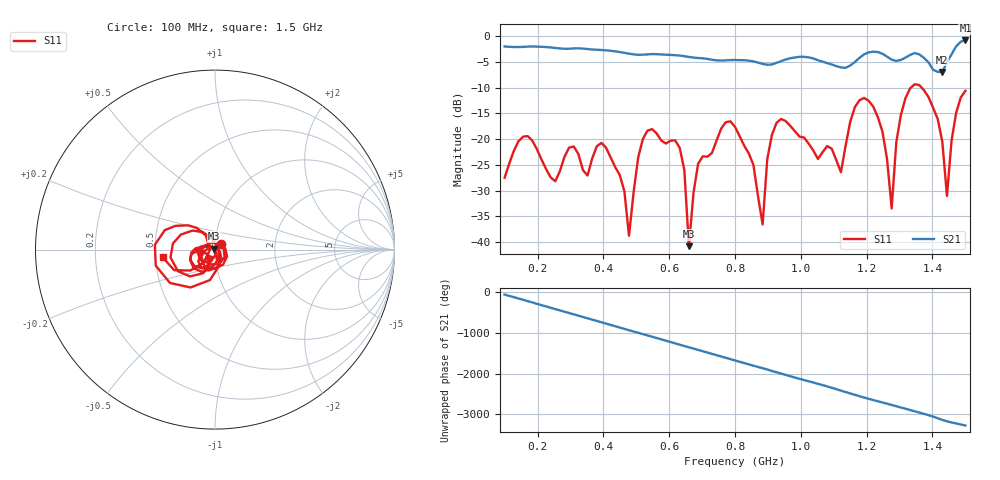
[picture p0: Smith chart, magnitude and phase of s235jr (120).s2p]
! NanoVNA-App
! Date: 2025-09-25 15:05:06
! Start: 100MHz Stop: 1,5GHz Points: 101
! S-Parameter data: F S11 S21 S12 S22
# Hz S RI R 50
!  Frequency  S11_Real  S11_Imag  S21_Real  S21_Imag  S12_Real  S12_Imag  S22_Real  S22_Imag
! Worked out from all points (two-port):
!   101 points, 100 MHz to 1.5 GHz, reference 50 ohm
!   highest |S21| = -0.80 dB at 1.5 GHz (marker M1); lowest = -7.0 dB at 1.43 GHz (marker M2)
!   |S21| within 3 dB of the highest: start of sweep to 639.8 MHz; 1.186 GHz to 1.259 GHz (72.5 MHz wide, 5.93 % of centre) (the widest 2 of 4)
!   lowest |S11| = -40.8 dB at 660 MHz (marker M3), VSWR 1.02, Z = 49.3 + j0.571 ohm
!   |S11| at or under -10 dB: start of sweep to 1.334 GHz; 1.367 GHz to end of sweep
!   S12 and S22 are empty: the file has one direction only
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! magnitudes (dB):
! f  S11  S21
! 100 MHz  -27.5  -2.0
! 170 MHz  -19.4  -2.0
! 338 MHz  -26.0  -2.4
! 408 MHz  -21.6  -2.7
! 478 MHz  -38.8  -3.4
! 520 MHz  -20.0  -3.6
! 576 MHz  -20.3  -3.5
! 632 MHz  -21.7  -3.7
! 660 MHz  -40.8  -4.0
! 688 MHz  -24.8  -4.2
! 800 MHz  -17.6  -4.6
! 884 MHz  -36.6  -5.4
! 926 MHz  -16.8  -5.2
! 1.038 GHz  -22.2  -4.3
! 1.122 GHz  -26.4  -6.0
! 1.206 GHz  -12.5  -3.1
! 1.276 GHz  -33.5  -4.5
! 1.29 GHz  -20.6  -4.8
! 1.332 GHz  -10.1  -3.6
! 1.43 GHz  -20.6  -7.0
! 1.444 GHz  -31.0  -5.0
! 1.5 GHz  -10.6  -0.8
